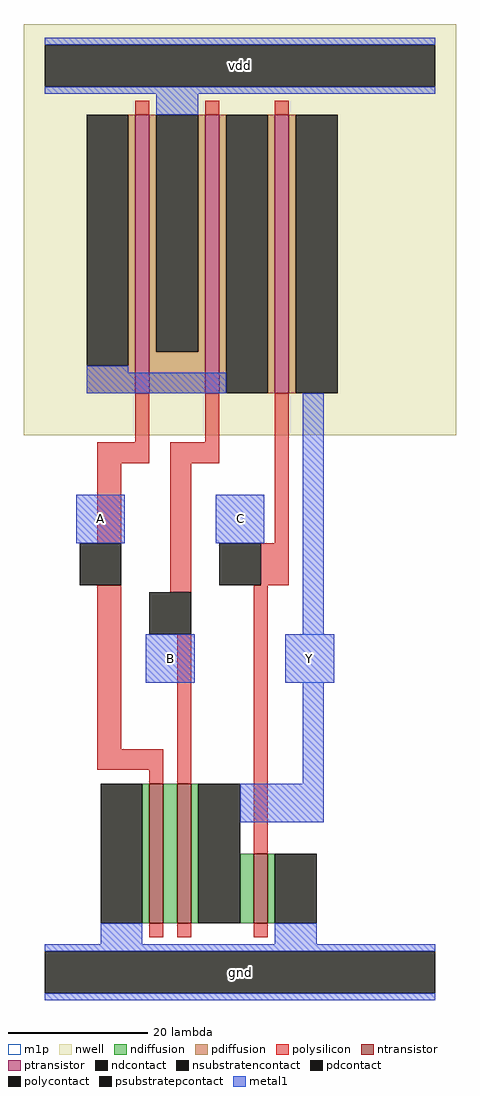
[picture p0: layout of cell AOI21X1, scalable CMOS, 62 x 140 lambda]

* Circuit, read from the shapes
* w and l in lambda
.subckt AOI21X1 A B C Y vdd gnd
M1 n1 A gnd gnd nfet w=20 l=2
M2 Y B n1 gnd nfet w=20 l=2
M3 gnd C Y gnd nfet w=10 l=2
M4 vdd A n2 vdd pfet w=40 l=2
M5 n2 B vdd vdd pfet w=40 l=2
M6 Y C n2 vdd pfet w=40 l=2
.ends

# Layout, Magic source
magic
tech scmos
magscale 1 2
<< nwell >>
rect -12 154 112 272
<< ntransistor >>
rect 24 14 28 54
rect 32 14 36 54
rect 54 14 58 34
<< ptransistor >>
rect 20 166 24 246
rect 40 166 44 246
rect 60 166 64 246
<< ndiffusion >>
rect 22 14 24 54
rect 28 14 32 54
rect 36 14 38 54
rect 50 14 54 34
rect 58 14 60 34
<< pdiffusion >>
rect 18 174 20 246
rect 6 166 20 174
rect 24 178 26 246
rect 38 178 40 246
rect 24 166 40 178
rect 44 166 46 246
rect 58 166 60 246
rect 64 166 66 246
<< ndcontact >>
rect 10 14 22 54
rect 38 14 50 54
rect 60 14 72 34
<< pdcontact >>
rect 6 174 18 246
rect 26 178 38 246
rect 46 166 58 246
rect 66 166 78 246
<< psubstratepcontact >>
rect -6 -6 106 6
<< nsubstratencontact >>
rect -6 254 106 266
<< polysilicon >>
rect 20 246 24 250
rect 40 246 44 250
rect 60 246 64 250
rect 20 152 24 166
rect 40 152 44 166
rect 9 146 24 152
rect 30 146 44 152
rect 9 123 16 146
rect 9 64 16 111
rect 30 109 36 146
rect 60 123 64 166
rect 56 111 64 123
rect 9 58 28 64
rect 24 54 28 58
rect 32 54 36 97
rect 54 34 58 111
rect 24 10 28 14
rect 32 10 36 14
rect 54 10 58 14
<< polycontact >>
rect 4 111 16 123
rect 44 111 56 123
rect 24 97 36 109
<< metal1 >>
rect -6 266 106 268
rect -6 252 106 254
rect 26 246 38 252
rect 6 172 18 174
rect 6 166 46 172
rect 3 123 17 137
rect 43 123 57 137
rect 68 97 74 166
rect 23 83 37 97
rect 63 83 77 97
rect 68 54 74 83
rect 50 43 74 54
rect 10 8 22 14
rect 60 8 72 14
rect -6 6 106 8
rect -6 -8 106 -6
<< m1p >>
rect 3 123 17 137
rect 43 123 57 137
rect 23 83 37 97
rect 63 83 77 97
<< labels >>
rlabel metal1 -6 252 106 268 0 vdd
port 4 nsew power bidirectional abutment
rlabel metal1 -6 -8 106 8 0 gnd
port 5 nsew ground bidirectional abutment
rlabel metal1 23 83 37 97 0 B
port 1 nsew signal input
rlabel metal1 3 123 17 137 0 A
port 0 nsew signal input
rlabel metal1 43 123 57 137 0 C
port 2 nsew signal input
rlabel metal1 63 83 77 97 0 Y
port 3 nsew signal output
<< properties >>
string FIXED_BBOX 0 0 100 260
string LEFclass CORE
string LEFsite core
string LEFsymmetry X Y
<< end >>
